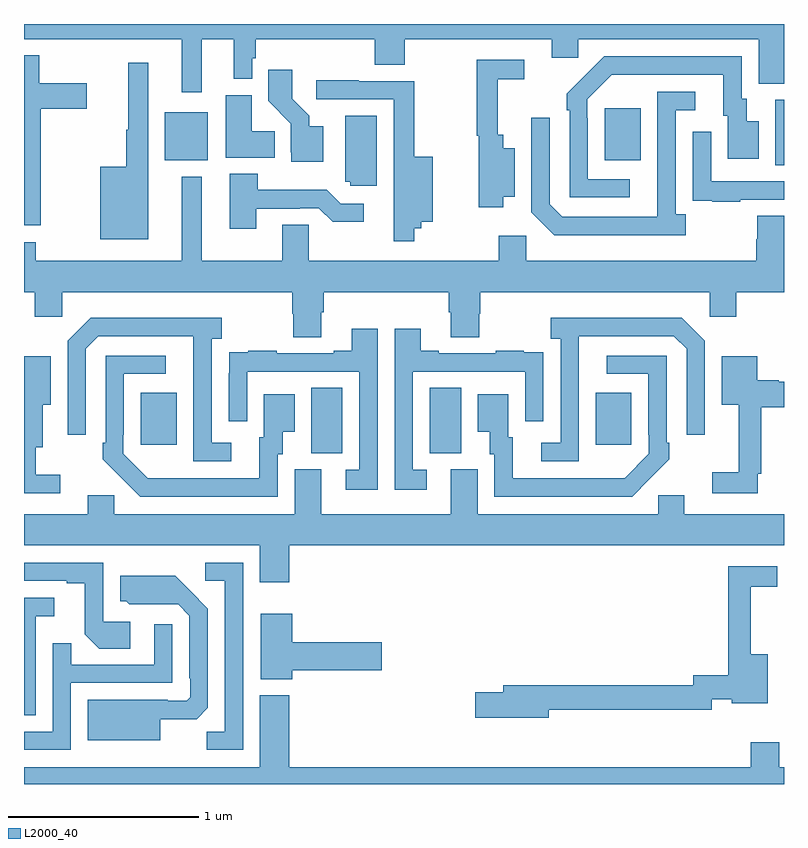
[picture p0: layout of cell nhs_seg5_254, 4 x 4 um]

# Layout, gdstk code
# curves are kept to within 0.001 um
import gdstk
lib = gdstk.Library(unit=1e-6, precision=1e-09)
def R(c, l, rs):  # rectangles x0, y0, x1, y1
    for r in rs: c.add(gdstk.rectangle(r[:2], r[2:], *l))
def P(c, l, *ps):  # polygons
    for p in ps: c.add(gdstk.Polygon(p, *l))
L2000_40 = (2000, 40)

nhs_seg5_254 = lib.new_cell('nhs_seg5_254')
R(nhs_seg5_254, L2000_40, [(126.512,894.541,126.676,894.884), (127.136,894.541,127.3,894.884), (125.615,894.585,125.803,894.859), (128.009,894.585,128.197,894.859), (128.954,896.056,129,896.4), (125.741,896.081,125.968,896.335), (128.057,896.081,128.245,896.356)])
P(nhs_seg5_254, L2000_40, [(125.935,896.72),(126.104,896.72),(126.104,896.51),(126.201,896.51),(126.201,896.619),(126.221,896.619),(126.221,896.72),(126.845,896.72),(126.845,896.584),(127.005,896.584),(127.005,896.72),(127.778,896.72),(127.778,896.622),(127.917,896.622),(127.917,896.72),(128.867,896.72),(128.867,896.485),(129,896.485),(129,896.799),(125,896.799),(125,896.72),(125.831,896.72),(125.831,896.439),(125.935,896.439)],
  [(125.088,896.354),(125.329,896.354),(125.329,896.488),(125.08,896.488),(125.08,896.635),(125,896.635),(125,895.739),(125.088,895.739)],
  [(128.188,895.983),(127.968,895.983),(127.968,896.303),(127.965,896.303),(127.965,896.403),(128.094,896.532),(128.681,896.532),(128.681,896.316),(128.705,896.316),(128.705,896.091),(128.866,896.091),(128.866,896.287),(128.803,896.287),(128.803,896.406),(128.778,896.406),(128.778,896.628),(128.054,896.628),(127.857,896.433),(127.857,896.345),(127.872,896.345),(127.872,895.887),(128.188,895.887)],
  [(127.522,895.889),(127.582,895.889),(127.582,896.146),(127.522,896.146),(127.522,896.215),(127.493,896.215),(127.493,896.509),(127.633,896.509),(127.633,896.61),(127.383,896.61),(127.383,896.211),(127.394,896.211),(127.394,895.835),(127.522,895.835)],
  [(125.653,896.596),(125.549,896.596),(125.549,896.243),(125.539,896.243),(125.539,896.047),(125.402,896.047),(125.402,895.667),(125.653,895.667)],
  [(126.574,896.26),(126.502,896.26),(126.502,896.315),(126.412,896.405),(126.412,896.557),(126.286,896.557),(126.286,896.394),(126.405,896.275),(126.405,896.124),(126.407,896.124),(126.407,896.075),(126.574,896.075)],
  [(127.054,895.724),(127.091,895.724),(127.091,895.757),(127.15,895.757),(127.15,896.101),(127.054,896.101),(127.054,896.499),(126.761,896.499),(126.761,896.502),(126.537,896.502),(126.537,896.403),(126.945,896.403),(126.945,895.656),(127.054,895.656)],
  [(128.482,895.798),(128.43,895.798),(128.43,896.346),(128.533,896.346),(128.533,896.442),(128.334,896.442),(128.333,895.785),(127.833,895.785),(127.767,895.851),(127.767,896.305),(127.671,896.305),(127.671,895.809),(127.792,895.688),(128.482,895.688)],
  [(126.32,896.234),(126.199,896.234),(126.199,896.425),(126.062,896.425),(126.062,896.096),(126.32,896.096)],
  [(126.856,896.317),(126.692,896.317),(126.692,895.968),(126.717,895.968),(126.717,895.947),(126.856,895.947)],
  [(128.771,895.875),(129,895.875),(129,895.971),(128.616,895.971),(128.616,896.233),(128.52,896.233),(128.52,895.978),(128.521,895.978),(128.521,895.869),(128.623,895.869),(128.623,895.863),(128.771,895.863)],
  [(126.223,895.827),(126.452,895.827),(126.452,895.83),(126.552,895.83),(126.625,895.757),(126.787,895.757),(126.787,895.854),(126.666,895.854),(126.593,895.927),(126.231,895.927),(126.231,896.011),(126.083,896.011),(126.083,895.722),(126.223,895.722)],
  [(126.565,895.282),(126.578,895.282),(126.578,895.388),(127.235,895.388),(127.235,895.282),(127.247,895.282),(127.247,895.15),(127.395,895.15),(127.395,895.275),(127.4,895.275),(127.4,895.388),(128.61,895.388),(128.61,895.257),(128.749,895.257),(128.749,895.388),(129,895.388),(129,895.79),(128.86,895.79),(128.86,895.665),(128.855,895.665),(128.855,895.552),(127.644,895.552),(127.644,895.684),(127.498,895.684),(127.498,895.552),(126.498,895.552),(126.498,895.742),(126.359,895.742),(126.359,895.552),(125.935,895.552),(125.935,895.996),(125.831,895.996),(125.831,895.552),(125.061,895.552),(125.061,895.651),(125,895.651),(125,895.388),(125.056,895.388),(125.056,895.257),(125.202,895.257),(125.202,895.388),(126.413,895.388),(126.413,895.275),(126.418,895.275),(126.418,895.15),(126.565,895.15)],
  [(126.091,894.594),(125.988,894.594),(125.988,895.142),(126.04,895.142),(126.04,895.252),(125.35,895.252),(125.229,895.131),(125.229,894.636),(125.325,894.636),(125.325,895.089),(125.391,895.155),(125.891,895.155),(125.892,894.498),(126.091,894.498)],
  [(127.92,894.955),(127.921,895.155),(128.421,895.155),(128.487,895.089),(128.487,894.636),(128.583,894.636),(128.583,895.131),(128.462,895.252),(127.773,895.252),(127.773,895.142),(127.824,895.142),(127.824,894.594),(127.722,894.594),(127.722,894.498),(127.92,894.498)],
  [(127.12,894.453),(127.047,894.453),(127.047,894.969),(127.638,894.969),(127.638,894.708),(127.734,894.708),(127.734,894.962),(127.733,894.962),(127.733,895.071),(127.631,895.071),(127.631,895.078),(127.483,895.078),(127.483,895.065),(127.183,895.065),(127.183,895.078),(127.087,895.078),(127.087,895.195),(126.951,895.195),(126.951,894.348),(127.12,894.348)],
  [(126.861,895.195),(126.725,895.195),(126.725,895.078),(126.629,895.078),(126.629,895.065),(126.329,895.065),(126.329,895.078),(126.181,895.078),(126.181,895.071),(126.079,895.071),(126.079,894.962),(126.078,894.962),(126.078,894.708),(126.174,894.708),(126.174,894.969),(126.765,894.969),(126.765,894.453),(126.693,894.453),(126.693,894.348),(126.861,894.348)],
  [(126.336,894.534),(126.361,894.534),(126.361,894.653),(126.424,894.653),(126.424,894.85),(126.263,894.85),(126.263,894.624),(126.239,894.624),(126.239,894.408),(125.652,894.409),(125.523,894.537),(125.523,894.637),(125.526,894.637),(125.526,894.957),(125.746,894.957),(125.746,895.053),(125.43,895.053),(125.43,894.595),(125.415,894.595),(125.415,894.507),(125.612,894.312),(126.336,894.312)],
  [(128.291,894.403),(128.292,894.402),(128.397,894.507),(128.397,894.595),(128.382,894.595),(128.382,895.053),(128.067,895.053),(128.067,894.957),(128.286,894.957),(128.286,894.637),(128.289,894.637),(128.289,894.537),(128.161,894.409),(127.573,894.408),(127.573,894.624),(127.549,894.624),(127.549,894.85),(127.388,894.85),(127.388,894.653),(127.451,894.653),(127.451,894.534),(127.476,894.534),(127.476,894.312),(128.2,894.312)],
  [(125.191,894.427),(125.062,894.427),(125.062,894.572),(125.098,894.572),(125.098,894.794),(125.14,894.794),(125.14,895.051),(125,895.051),(125,894.33),(125.191,894.33)],
  [(128.861,894.433),(128.879,894.433),(128.879,894.782),(129,894.782),(129,894.916),(128.973,894.916),(128.973,894.924),(128.86,894.924),(128.86,895.051),(128.672,895.051),(128.672,894.794),(128.762,894.794),(128.762,894.439),(128.622,894.439),(128.622,894.33),(128.861,894.33)],
  [(126.395,894.056),(129,894.056),(129,894.22),(128.476,894.22),(128.476,894.318),(128.337,894.318),(128.337,894.22),(127.387,894.22),(127.387,894.456),(127.247,894.456),(127.247,894.22),(126.565,894.22),(126.565,894.456),(126.425,894.456),(126.425,894.22),(125.475,894.22),(125.475,894.318),(125.336,894.318),(125.336,894.22),(125,894.22),(125,894.056),(126.242,894.056),(126.242,893.862),(126.395,893.862)],
  [(126.153,893.964),(125.955,893.964),(125.955,893.868),(126.057,893.868),(126.057,893.075),(125.962,893.075),(125.962,892.98),(126.153,892.98)],
  [(125.56,893.652),(125.418,893.652),(125.418,893.964),(125,893.964),(125,893.868),(125.225,893.868),(125.225,893.856),(125.319,893.856),(125.319,893.588),(125.395,893.512),(125.56,893.512)],
  [(127.762,893.19),(128.619,893.19),(128.619,893.244),(128.726,893.244),(128.726,893.225),(128.914,893.225),(128.914,893.482),(128.825,893.482),(128.825,893.838),(128.965,893.838),(128.965,893.946),(128.707,893.946),(128.707,893.372),(128.523,893.372),(128.523,893.318),(127.523,893.318),(127.523,893.282),(127.374,893.282),(127.374,893.147),(127.762,893.147)],
  [(125.716,893.141),(125.908,893.141),(125.967,893.2),(125.967,893.722),(125.795,893.896),(125.507,893.896),(125.507,893.76),(125.538,893.76),(125.554,893.744),(125.811,893.745),(125.871,893.685),(125.871,893.356),(125.874,893.356),(125.874,893.256),(125.856,893.238),(125.756,893.238),(125.756,893.242),(125.336,893.242),(125.336,893.03),(125.716,893.03)],
  [(125.061,893.681),(125.158,893.681),(125.158,893.778),(125,893.778),(125,893.161),(125.061,893.161)],
  [(126.412,893.399),(126.883,893.399),(126.883,893.546),(126.412,893.546),(126.412,893.695),(126.245,893.695),(126.245,893.351),(126.412,893.351)],
  [(125.247,893.331),(125.781,893.331),(125.781,893.641),(125.685,893.641),(125.685,893.427),(125.249,893.427),(125.249,893.54),(125.151,893.54),(125.151,893.073),(125,893.073),(125,892.98),(125.247,892.98)],
  [(129,892.888),(128.976,892.888),(128.976,893.02),(128.825,893.02),(128.825,892.888),(126.395,892.888),(126.395,893.266),(126.242,893.266),(126.242,892.888),(125,892.888),(125,892.799),(129,892.799)])

lib.write_gds('nhs_seg5_254.gds')
